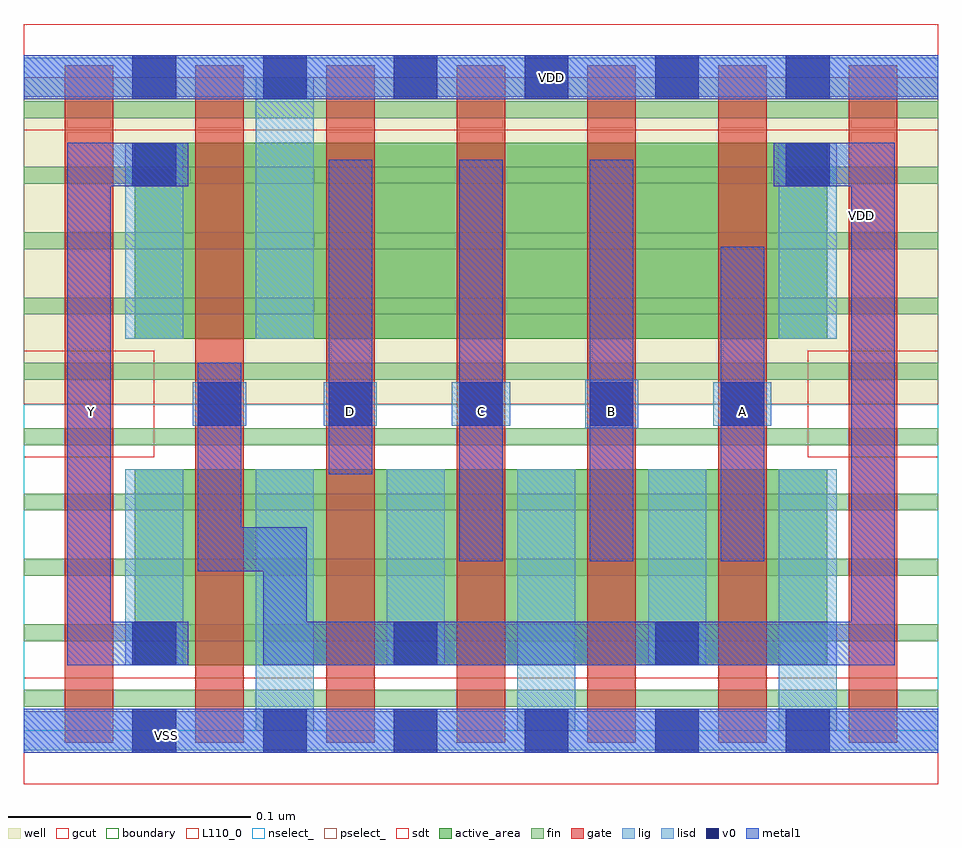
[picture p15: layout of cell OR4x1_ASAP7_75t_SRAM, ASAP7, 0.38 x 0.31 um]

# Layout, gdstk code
import gdstk
lib = gdstk.Library(unit=1e-6, precision=1e-09)
def R(c, l, rs):  # rectangles x0, y0, x1, y1
    for r in rs: c.add(gdstk.rectangle(r[:2], r[2:], *l))
def A(c, l, x, y, w, h, nx, ny, dx, dy):  # array of equal rectangles
    R(c, l, [(x+i*dx, y+j*dy, x+i*dx+w, y+j*dy+h) for i in range(nx) for j in range(ny)])
def P(c, l, *ps):  # polygons
    for p in ps: c.add(gdstk.Polygon(p, *l))
well = (1, 0)
fin = (2, 0)
gate = (7, 0)
gcut = (10, 0)
active_area = (11, 0)
nselect_ = (12, 0)
pselect_ = (13, 0)
lig = (16, 0)
lisd = (17, 0)
v0 = (18, 0)
metal1 = (19, 0)
sdt = (88, 0)
boundary = (100, 0)
L110_0 = (110, 0)

or4x1_asap7_75t_sram = lib.new_cell('OR4x1_ASAP7_75t_SRAM')
R(or4x1_asap7_75t_sram, well, [(0,0.135,0.378,0.27)])
A(or4x1_asap7_75t_sram, fin, 0, 0.01, 0.378, 0.007, 1, 10, 0, 0.027)
A(or4x1_asap7_75t_sram, gate, 0.017, -0.005, 0.02, 0.28, 7, 1, 0.054, 0)
R(or4x1_asap7_75t_sram, gcut, [(0,-0.022,0.378,0.022), (0,0.113,0.054,0.157), (0.324,0.113,0.378,0.157), (0,0.248,0.378,0.292)])
R(or4x1_asap7_75t_sram, active_area, [(0.046,0.027,0.332,0.108), (0.046,0.162,0.332,0.243)])
R(or4x1_asap7_75t_sram, nselect_, [(0,0,0.378,0.135)])
R(or4x1_asap7_75t_sram, pselect_, [(0,0.135,0.378,0.27)])
R(or4x1_asap7_75t_sram, lig, [(0,-0.008,0.378,0.008), (0.232,0.125,0.254,0.145), (0.07,0.126,0.092,0.144), (0.124,0.126,0.146,0.144), (0.177,0.126,0.201,0.144), (0.285,0.126,0.309,0.144), (0,0.262,0.378,0.278)])
A(or4x1_asap7_75t_sram, lisd, 0.096, 0, 0.024, 0.108, 3, 1, 0.108, 0)
A(or4x1_asap7_75t_sram, lisd, 0.042, 0.027, 0.024, 0.081, 3, 1, 0.108, 0)
R(or4x1_asap7_75t_sram, lisd, [(0.042,0.162,0.066,0.243), (0.096,0.162,0.12,0.27), (0.312,0.162,0.336,0.243)])
A(or4x1_asap7_75t_sram, v0, 0.045, -0.009, 0.018, 0.018, 6, 2, 0.054, 0.27)
A(or4x1_asap7_75t_sram, v0, 0.045, 0.027, 0.018, 0.018, 3, 1, 0.108, 0)
A(or4x1_asap7_75t_sram, v0, 0.072, 0.126, 0.018, 0.018, 5, 1, 0.054, 0)
R(or4x1_asap7_75t_sram, v0, [(0.045,0.225,0.063,0.243), (0.315,0.225,0.333,0.243)])
R(or4x1_asap7_75t_sram, metal1, [(0,-0.009,0.378,0.009), (0.18,0.07,0.198,0.236), (0.234,0.07,0.252,0.236), (0.288,0.07,0.306,0.2), (0.126,0.106,0.144,0.236), (0,0.261,0.378,0.279)])
P(or4x1_asap7_75t_sram, metal1, [(0.36,0.243),(0.31,0.243),(0.31,0.225),(0.342,0.225),(0.342,0.045),(0.117,0.045),(0.117,0.084),(0.09,0.084),(0.09,0.152),(0.072,0.152),(0.072,0.066),(0.099,0.066),(0.099,0.027),(0.36,0.027)],
  [(0.068,0.045),(0.036,0.045),(0.036,0.225),(0.068,0.225),(0.068,0.243),(0.018,0.243),(0.018,0.027),(0.068,0.027)])
A(or4x1_asap7_75t_sram, sdt, 0.042, 0.027, 0.024, 0.081, 6, 1, 0.054, 0)
R(or4x1_asap7_75t_sram, sdt, [(0.042,0.162,0.066,0.243), (0.096,0.162,0.12,0.243), (0.312,0.162,0.336,0.243)])
R(or4x1_asap7_75t_sram, boundary, [(0,0,0.378,0.27)])
R(or4x1_asap7_75t_sram, L110_0, [(0,0,0.378,0.27)])
or4x1_asap7_75t_sram.add(gdstk.Label('VSS', (0.059,-0.002), layer=19, texttype=251))
or4x1_asap7_75t_sram.add(gdstk.Label('A', (0.297,0.132), layer=19, texttype=251))
or4x1_asap7_75t_sram.add(gdstk.Label('B', (0.243,0.132), layer=19, texttype=251))
or4x1_asap7_75t_sram.add(gdstk.Label('C', (0.189,0.132), layer=19, texttype=251))
or4x1_asap7_75t_sram.add(gdstk.Label('D', (0.135,0.132), layer=19, texttype=251))
or4x1_asap7_75t_sram.add(gdstk.Label('Y', (0.028,0.132), layer=19, texttype=251))
or4x1_asap7_75t_sram.add(gdstk.Label('VDD', (0.218,0.27), layer=19, texttype=251))
or4x1_asap7_75t_sram.add(gdstk.Label('VDD', (0.346,0.213), layer=1, texttype=251))
or4x1_asap7_75t_sram.add(gdstk.Label('VSS', (0.415,0.212), layer=3, texttype=251))

lib.write_gds('OR4x1_ASAP7_75t_SRAM.gds')
